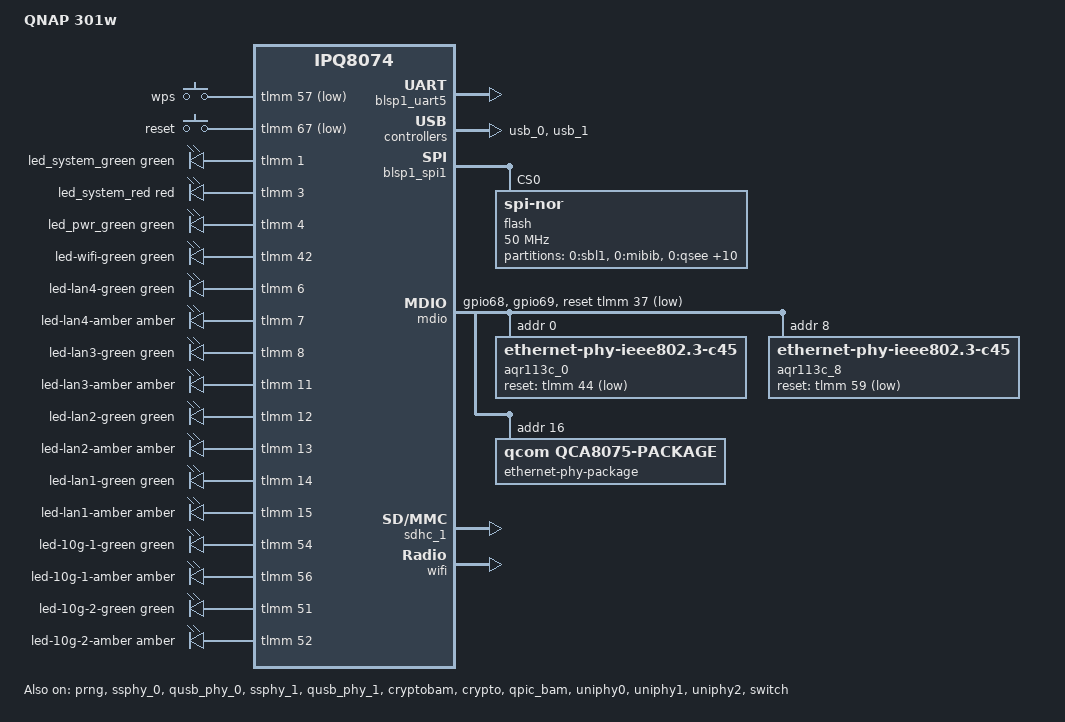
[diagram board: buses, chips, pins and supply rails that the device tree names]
// SPDX-License-Identifier: GPL-2.0-or-later OR MIT
/* Copyright (c) 2021, Dirk Buchwalder <buchwalder@posteo.de> */

/dts-v1/;

#include "ipq8074.dtsi"
#include "ipq8074-hk-cpu.dtsi"
#include "ipq8074-ess-cleanup.dtsi"
#include <dt-bindings/gpio/gpio.h>
#include <dt-bindings/input/input.h>
#include <dt-bindings/leds/common.h>

/ {
	model = "QNAP 301w";
	compatible = "qnap,301w", "qcom,ipq8074";

	aliases {
		serial0 = &blsp1_uart5;
		/*
		 * Aliases as required by u-boot
		 * to patch MAC addresses
		 */
		led-boot = &led_system_red;
		led-failsafe = &led_system_red;
		led-running = &led_pwr_green;
		led-upgrade = &led_system_red;
		ethernet0 = &lan4;
		ethernet1 = &lan3;
		ethernet2 = &lan2;
		ethernet3 = &lan1;
		ethernet4 = &port_10g_1;
		ethernet5 = &port_10g_2;
		label-mac-device = &lan4;
	};

	chosen {
		stdout-path = "serial0:115200n8";
	};

	keys {
		compatible = "gpio-keys";
		pinctrl-0 = <&button_pins>;
		pinctrl-names = "default";

		wps-button {
			label = "wps";
			gpios = <&tlmm 57 GPIO_ACTIVE_LOW>;
			linux,code = <KEY_WPS_BUTTON>;
		};

		reset-button {
			label = "reset";
			gpios = <&tlmm 67 GPIO_ACTIVE_LOW>;
			linux,code = <KEY_RESTART>;
		};
	};

	leds {
		compatible = "gpio-leds";
		pinctrl-0 = <&leds_pins>;
		pinctrl-names = "default";

		led_system_green: led-system-green {
			gpios = <&tlmm 1 GPIO_ACTIVE_HIGH>;
			color = <LED_COLOR_ID_GREEN>;
			function = LED_FUNCTION_STATUS;
		};

		led_system_red: led-system-red {
			gpios = <&tlmm 3 GPIO_ACTIVE_HIGH>;
			color = <LED_COLOR_ID_RED>;
			function = LED_FUNCTION_STATUS;
		};

		led_pwr_green: led-pwr-green {
			gpios = <&tlmm 4 GPIO_ACTIVE_HIGH>;
			color = <LED_COLOR_ID_GREEN>;
			function = LED_FUNCTION_POWER;
		};

		led-wifi-green {
			gpios = <&tlmm 42 GPIO_ACTIVE_HIGH>;
			color = <LED_COLOR_ID_GREEN>;
			function = LED_FUNCTION_WLAN;
		};

		led-lan4-green {
			gpios = <&tlmm 6 GPIO_ACTIVE_HIGH>;
			color = <LED_COLOR_ID_GREEN>;
			function = LED_FUNCTION_LAN;
			function-enumerator = <4>;
		};

		led-lan4-amber {
			gpios = <&tlmm 7 GPIO_ACTIVE_HIGH>;
			color = <LED_COLOR_ID_AMBER>;
			function = LED_FUNCTION_LAN;
			function-enumerator = <4>;
		};

		led-lan3-green {
			gpios = <&tlmm 8 GPIO_ACTIVE_HIGH>;
			color = <LED_COLOR_ID_GREEN>;
			function = LED_FUNCTION_LAN;
			function-enumerator = <3>;
		};

		led-lan3-amber {
			gpios = <&tlmm 11 GPIO_ACTIVE_HIGH>;
			color = <LED_COLOR_ID_AMBER>;
			function = LED_FUNCTION_LAN;
			function-enumerator = <3>;
		};

		led-lan2-green {
			gpios = <&tlmm 12 GPIO_ACTIVE_HIGH>;
			color = <LED_COLOR_ID_GREEN>;
			function = LED_FUNCTION_LAN;
			function-enumerator = <2>;
		};

		led-lan2-amber {
			gpios = <&tlmm 13 GPIO_ACTIVE_HIGH>;
			color = <LED_COLOR_ID_AMBER>;
			function = LED_FUNCTION_LAN;
			function-enumerator = <2>;
		};

		led-lan1-green {
			gpios = <&tlmm 14 GPIO_ACTIVE_HIGH>;
			color = <LED_COLOR_ID_GREEN>;
			function = LED_FUNCTION_LAN;
			function-enumerator = <1>;
		};

		led-lan1-amber {
			gpios = <&tlmm 15 GPIO_ACTIVE_HIGH>;
			color = <LED_COLOR_ID_AMBER>;
			function = LED_FUNCTION_LAN;
			function-enumerator = <1>;
		};

		led-10g-1-green {
			gpios = <&tlmm 54 GPIO_ACTIVE_HIGH>;
			color = <LED_COLOR_ID_GREEN>;
			function = "10g";
			function-enumerator = <1>;
		};

		led-10g-1-amber {
			gpios = <&tlmm 56 GPIO_ACTIVE_HIGH>;
			color = <LED_COLOR_ID_AMBER>;
			function = "10g";
			function-enumerator = <1>;
		};

		led-10g-2-green {
			gpios = <&tlmm 51 GPIO_ACTIVE_HIGH>;
			color = <LED_COLOR_ID_GREEN>;
			function = "10g";
			function-enumerator = <2>;
		};

		led-10g-2-amber {
			gpios = <&tlmm 52 GPIO_ACTIVE_HIGH>;
			color = <LED_COLOR_ID_AMBER>;
			function = "10g";
			function-enumerator = <2>;
		};
	};
};

&tlmm {

	mdio_pins: mdio-state {
		mdc-pins {
			pins = "gpio68";
			function = "mdc";
			drive-strength = <8>;
			bias-pull-up;
		};

		mdio-pins {
			pins = "gpio69";
			function = "mdio";
			drive-strength = <8>;
			bias-pull-up;
		};
	};

	button_pins: button-state {
		wps-pins {
			pins = "gpio57";
			function = "gpio";
			drive-strength = <8>;
			bias-pull-up;
		};

		rst-pins {
			pins = "gpio67";
			function = "gpio";
			drive-strength = <8>;
			bias-pull-up;
		};
	};

	leds_pins: leds-state {
		pins = "gpio1", "gpio3", "gpio4", "gpio6", "gpio7", "gpio8",
		       "gpio11", "gpio12", "gpio13", "gpio14", "gpio15", "gpio42",
		       "gpio51", "gpio52", "gpio54", "gpio56";
		function = "gpio";
		drive-strength = <8>;
		bias-pull-down;
	};
};

&blsp1_uart5 {
	status = "okay";
};

&prng {
	status = "okay";
};

&ssphy_0 {
	status = "okay";
};

&qusb_phy_0 {
	status = "okay";
};

&ssphy_1 {
	status = "okay";
};

&qusb_phy_1 {
	status = "okay";
};

&usb_0 {
	status = "okay";
};

&usb_1 {
	status = "okay";
};

&cryptobam {
	status = "okay";
};

&crypto {
	status = "okay";
};

&qpic_bam {
	status = "okay";
};

&blsp1_spi1 { /* BLSP1 QUP1 */
	pinctrl-0 = <&spi_0_pins>;
	pinctrl-names = "default";
	status = "okay";

	flash@0 {
		reg = <0>;
		compatible = "jedec,spi-nor";
		spi-max-frequency = <50000000>;

		partitions {
			compatible = "fixed-partitions";
			#address-cells = <1>;
			#size-cells = <1>;

			partition@0 {
				label = "0:sbl1";
				reg = <0x0 0x50000>;
				read-only;
			};

			partition@50000 {
				label = "0:mibib";
				reg = <0x50000 0x10000>;
				read-only;
			};

			partition@60000 {
				label = "0:qsee";
				reg = <0x60000 0x180000>;
				read-only;
			};

			partition@1e0000 {
				label = "0:devcfg";
				reg = <0x1e0000 0x10000>;
				read-only;
			};

			partition@1f0000 {
				label = "0:apdp";
				reg = <0x1f0000 0x10000>;
				read-only;
			};

			partition@200000 {
				label = "0:rpm";
				reg = <0x200000 0x40000>;
				read-only;
			};

			partition@240000 {
				label = "0:cdt";
				reg = <0x240000 0x10000>;
				read-only;
			};

			partition@250000 {
				label = "0:appsblenv";
				reg = <0x250000 0x20000>;
			};

			partition@270000 {
				label = "0:appsbl";
				reg = <0x250000 0x100000>;
				read-only;
			};

			partition@370000 {
				label = "0:art";
				reg = <0x370000 0x40000>;
				read-only;
			};

			partition@3b0000 {
				label = "0:ethphyfw1";
				reg = <0x3b0000 0x80000>;

				nvmem-layout {
					compatible = "fixed-layout";
					#address-cells = <1>;
					#size-cells = <1>;

					aqr0_fw: firmware@0 {
						reg = <0x0 0x5fc02>;
					};
				};
			};

			partition@430000 {
				label = "0:ethphyfw2";
				reg = <0x430000 0x80000>;

				nvmem-layout {
					compatible = "fixed-layout";
					#address-cells = <1>;
					#size-cells = <1>;

					aqr1_fw: firmware@0 {
						reg = <0x0 0x5fc02>;
					};
				};
			};

			partition@4b0000 {
				label = "reserved";
				reg = <0x4b0000 0x350000>;
			};
		};
	};
};

&mdio {
	status = "okay";

	pinctrl-0 = <&mdio_pins>;
	pinctrl-names = "default";
	reset-gpios = <&tlmm 37 GPIO_ACTIVE_LOW>;

	aqr113c_0: ethernet-phy@0 {
		compatible ="ethernet-phy-ieee802.3-c45";
		reg = <0>;
		reset-gpios = <&tlmm 44 GPIO_ACTIVE_LOW>;
		firmware-name = "marvell/AQR-G4_v5.4.C-AQR_CIG_WF-1945_0x0_ID44778_VER1630.cld";
		nvmem-cell-names = "firmware";
		nvmem-cells = <&aqr0_fw>;
	};

	aqr113c_8: ethernet-phy@8 {
		compatible ="ethernet-phy-ieee802.3-c45";
		reg = <8>;
		reset-gpios = <&tlmm 59 GPIO_ACTIVE_LOW>;
		firmware-name = "marvell/AQR-G4_v5.4.C-AQR_CIG_WF-1945_0x8_ID44776_VER1630.cld";
		nvmem-cell-names = "firmware";
		nvmem-cells = <&aqr1_fw>;
	};

	ethernet-phy-package@16 {
		#address-cells = <1>;
		#size-cells = <0>;
		compatible = "qcom,qca8075-package";
		reg = <16>;

		qcom,package-mode = "qsgmii";

		qca8075_16: ethernet-phy@16 {
			compatible = "ethernet-phy-ieee802.3-c22";
			reg = <16>;
		};

		qca8075_17: ethernet-phy@17 {
			compatible = "ethernet-phy-ieee802.3-c22";
			reg = <17>;
		};

		qca8075_18: ethernet-phy@18 {
			compatible = "ethernet-phy-ieee802.3-c22";
			reg = <18>;
		};

		qca8075_19: ethernet-phy@19 {
			compatible = "ethernet-phy-ieee802.3-c22";
			reg = <19>;
		};
	};
};

&sdhc_1 {
	status = "okay";

	/* According to the stock dts from the QNAP gpl drop
	 * the emmc has a problem with the hs400 > hs200 speed switch.
	 * Therefore remove the mmc-hs400-1_8v property
	*/
	/delete-property/ mmc-hs400-1_8v;
	mmc-hs200-1_8v;
	mmc-ddr-1_8v;
	vqmmc-supply = <&l11>;
};

&uniphy0 {
	status = "okay";
};

&uniphy1 {
	status = "okay";
};

&uniphy2 {
	status = "okay";
};

&switch {
	status = "okay";

	ports {
		#address-cells = <1>;
		#size-cells = <0>;

		port@0 {
			reg = <0>;
			ethernet = <&edma>;
			phy-mode = "internal";

			fixed-link {
				speed = <1000>;
				full-duplex;
			};
		};

		lan4: port@1 {
			reg = <1>;
			label = "lan4";
			phy-handle = <&qca8075_16>;
			phy-mode = "qsgmii";
			pcs-handle = <&uniphy0 0>;
		};

		lan3: port@2 {
			reg = <2>;
			label = "lan3";
			phy-handle = <&qca8075_17>;
			phy-mode = "qsgmii";
			pcs-handle = <&uniphy0 1>;
		};

		lan2: port@3 {
			reg = <3>;
			label = "lan2";
			phy-handle = <&qca8075_18>;
			phy-mode = "qsgmii";
			pcs-handle = <&uniphy0 2>;
		};


		lan1: port@4 {
			reg = <4>;
			label = "lan1";
			phy-handle = <&qca8075_19>;
			phy-mode = "qsgmii";
			pcs-handle = <&uniphy0 3>;
		};

		port_10g_1: port@5 {
			reg = <5>;
			label = "10g-1";
			phy-handle = <&aqr113c_8>;
			phy-mode = "usxgmii";
			pcs-handle = <&uniphy1 0>;
		};

		port_10g_2: port@6 {
			reg = <6>;
			label = "10g-2";
			phy-handle = <&aqr113c_0>;
			phy-mode = "usxgmii";
			pcs-handle = <&uniphy2 0>;
		};
	};
};

&edma {
	status = "okay";
};

&wifi {
	status = "okay";

	qcom,ath11k-calibration-variant = "QNAP-301w";
};
